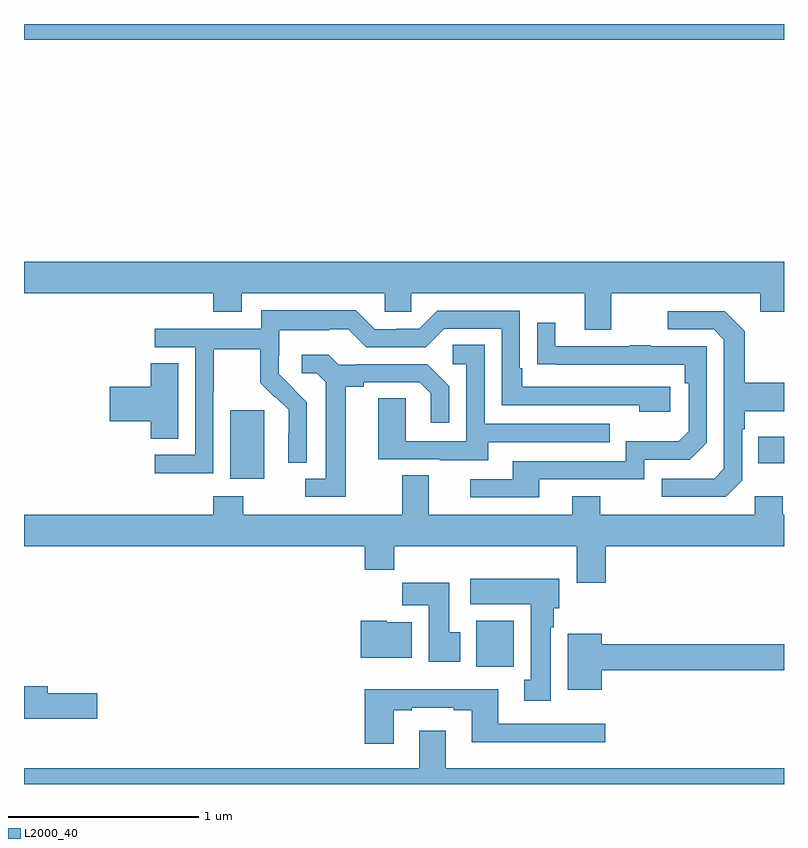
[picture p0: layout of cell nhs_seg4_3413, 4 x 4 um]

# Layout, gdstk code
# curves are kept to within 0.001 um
import gdstk
lib = gdstk.Library(unit=1e-6, precision=1e-09)
def R(c, l, rs):  # rectangles x0, y0, x1, y1
    for r in rs: c.add(gdstk.rectangle(r[:2], r[2:], *l))
def P(c, l, *ps):  # polygons
    for p in ps: c.add(gdstk.Polygon(p, *l))
L2000_40 = (2000, 40)

nhs_seg4_3413 = lib.new_cell('nhs_seg4_3413')
R(nhs_seg4_3413, L2000_40, [(293.381,797.516,293.578,797.758), (292.085,798.506,292.264,798.867), (294.865,798.587,295,798.727), (291,800.816,295,800.9)])
P(nhs_seg4_3413, L2000_40, [(294.091,799.484),(294.875,799.484),(294.875,799.385),(295,799.385),(295,799.648),(291,799.648),(291,799.484),(291.995,799.484),(291.995,799.385),(292.147,799.385),(292.147,799.484),(292.899,799.484),(292.899,799.386),(293.037,799.386),(293.037,799.484),(293.951,799.484),(293.951,799.29),(294.091,799.29)],
  [(291.996,798.964),(291.999,798.964),(291.999,799.188),(292.243,799.188),(292.243,799.013),(292.32,798.936),(292.323,798.939),(292.394,798.869),(292.394,798.746),(292.392,798.746),(292.392,798.592),(292.488,798.592),(292.488,798.91),(292.342,799.058),(292.342,799.155),(292.344,799.155),(292.344,799.289),(292.607,799.289),(292.607,799.293),(292.707,799.293),(292.8,799.2),(293.115,799.2),(293.211,799.296),(293.514,799.296),(293.514,798.894),(294.239,798.894),(294.239,798.86),(294.4,798.86),(294.4,798.99),(293.623,798.99),(293.623,799.087),(293.61,799.087),(293.61,799.392),(293.175,799.392),(293.079,799.296),(292.961,799.296),(292.961,799.293),(292.845,799.293),(292.745,799.393),(292.248,799.393),(292.248,799.296),(291.687,799.296),(291.687,799.2),(291.9,799.2),(291.9,798.633),(291.687,798.633),(291.687,798.535),(291.996,798.535)],
  [(294.78,798.498),(294.78,798.767),(294.793,798.767),(294.793,798.863),(295,798.863),(295,799.011),(294.793,799.011),(294.793,799.283),(294.687,799.389),(294.387,799.389),(294.387,799.293),(294.63,799.293),(294.684,799.239),(294.684,798.558),(294.633,798.507),(294.357,798.507),(294.357,798.411),(294.693,798.411)],
  [(293.713,798.504),(294.264,798.504),(294.264,798.606),(294.504,798.606),(294.594,798.696),(294.594,799.203),(294.299,799.203),(294.299,799.208),(294.187,799.208),(294.187,799.203),(293.797,799.203),(293.797,799.327),(293.701,799.327),(293.701,799.108),(294.478,799.107),(294.478,799.01),(294.498,799.01),(294.498,798.756),(294.445,798.703),(294.168,798.703),(294.168,798.6),(293.573,798.6),(293.573,798.504),(293.349,798.504),(293.349,798.408),(293.713,798.408)],
  [(293.443,798.699),(294.083,798.699),(294.083,798.795),(293.424,798.795),(293.424,799.211),(293.256,799.211),(293.256,799.11),(293.328,799.11),(293.328,798.705),(293.01,798.705),(293.01,798.929),(292.865,798.929),(292.865,798.609),(293.189,798.609),(293.189,798.605),(293.443,798.605)],
  [(292.693,798.992),(292.789,798.992),(292.789,799.014),(293.084,799.014),(293.141,798.957),(293.141,798.801),(293.238,798.801),(293.238,798.994),(293.122,799.11),(292.75,799.11),(292.75,799.107),(292.656,799.107),(292.604,799.159),(292.461,799.159),(292.461,799.062),(292.542,799.062),(292.589,799.015),(292.589,798.507),(292.479,798.507),(292.479,798.411),(292.693,798.411)],
  [(291.811,799.115),(291.668,799.115),(291.668,798.992),(291.45,798.992),(291.45,798.809),(291.668,798.809),(291.668,798.718),(291.811,798.718)],
  [(294.062,798.152),(295,798.152),(295,798.316),(294.993,798.316),(294.993,798.415),(294.846,798.415),(294.846,798.316),(294.033,798.316),(294.033,798.415),(293.885,798.415),(293.885,798.316),(293.131,798.316),(293.131,798.524),(292.991,798.524),(292.991,798.316),(292.155,798.316),(292.155,798.415),(291.995,798.415),(291.995,798.316),(291,798.316),(291,798.152),(292.793,798.152),(292.793,798.028),(292.949,798.028),(292.949,798.152),(293.909,798.152),(293.909,797.958),(294.062,797.958)],
  [(293.773,797.726),(293.788,797.726),(293.788,797.826),(293.818,797.826),(293.818,797.98),(293.349,797.98),(293.349,797.846),(293.666,797.846),(293.666,797.45),(293.633,797.45),(293.633,797.337),(293.773,797.337)],
  [(293.296,797.7),(293.239,797.7),(293.239,797.959),(292.99,797.959),(292.99,797.84),(293.129,797.84),(293.129,797.544),(293.296,797.544)],
  [(293.041,797.752),(292.908,797.752),(292.908,797.758),(292.772,797.758),(292.772,797.564),(293.041,797.564)],
  [(294.04,797.5),(295,797.5),(295,797.636),(294.04,797.636),(294.04,797.692),(293.861,797.692),(293.861,797.396),(294.04,797.396)],
  [(291.385,797.378),(291.124,797.378),(291.124,797.414),(291,797.414),(291,797.243),(291.385,797.243)],
  [(292.945,797.289),(293.041,797.289),(293.041,797.301),(293.261,797.301),(293.261,797.289),(293.357,797.289),(293.357,797.12),(294.058,797.12),(294.058,797.217),(293.497,797.217),(293.497,797.398),(292.793,797.398),(292.793,797.112),(292.945,797.112)],
  [(295,796.984),(293.221,796.984),(293.221,797.179),(293.081,797.179),(293.081,796.984),(291,796.984),(291,796.9),(295,796.9)])

lib.write_gds('nhs_seg4_3413.gds')
